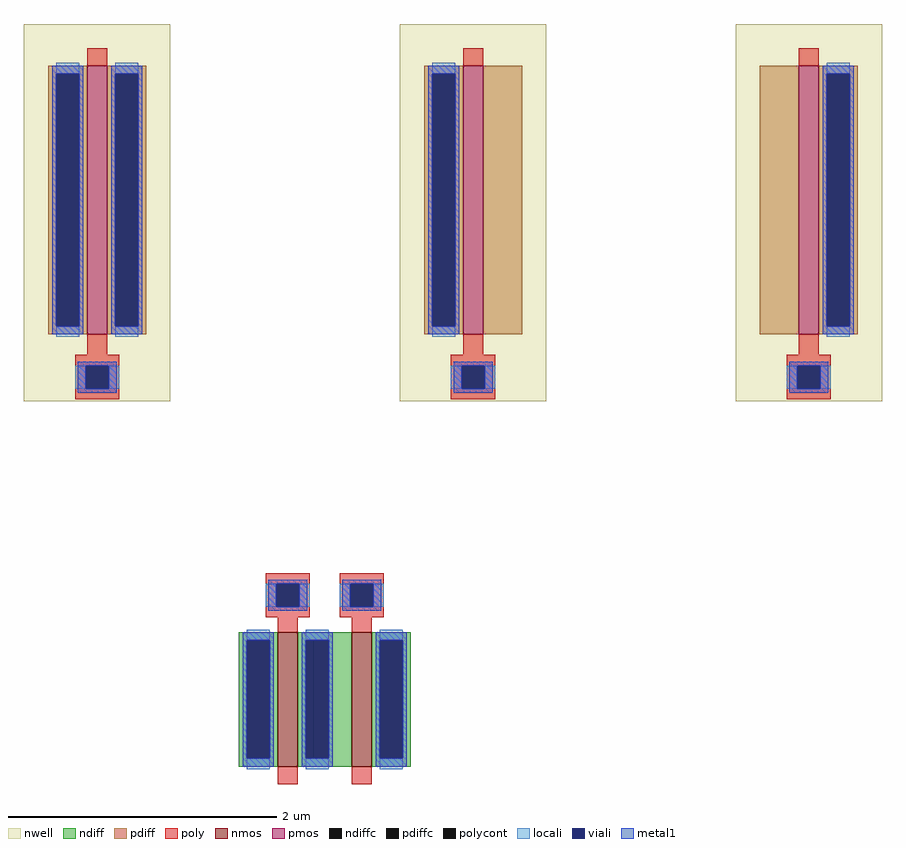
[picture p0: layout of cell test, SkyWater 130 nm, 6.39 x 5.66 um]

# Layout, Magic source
magic
tech sky130A
magscale 1 2
use sky130_fd_pr__nfet_MJHEWA  sky130_fd_pr__nfet_01v8_MJHEWA_0
transform 1 0 393 0 1 -413
box -73 -157 73 157
use sky130_fd_pr__nfet_MJHEWA_abut1  sky130_fd_pr__nfet_MJHEWA_abut1_0
transform 1 0 503 0 1 -413
box -73 -157 73 157
use sky130_fd_pr__pfet_01v8_H3PEXU  sky130_fd_pr__pfet_01v8_H3PEXU_0
transform 1 0 109 0 1 264
box -109 -264 109 298
use sky130_fd_pr__pfet_01v8_H3PEXU_abut1  sky130_fd_pr__pfet_01v8_H3PEXU_abut1_0
transform 1 0 669 0 1 264
box -109 -264 109 298
use sky130_fd_pr__pfet_01v8_H3PEXU_abut2  sky130_fd_pr__pfet_01v8_H3PEXU_abut2_0
transform 1 0 1169 0 1 264
box -109 -264 109 298
<< end >>

# cell sky130_fd_pr__nfet_MJHEWA: kit device sky130_fd_pr__nfet_01v8, w 1 l 0.150 m 1 nf 1 diffcov 100 polycov 100 guard 0 glc 1 grc 1 gtc 1 gbc 1 tbcov 100 rlcov 100 topc 1 botc 0 poverlap 0 doverlap 1 lmin 0.15 wmin 0.42 class mosfet compatible {sky130_fd_pr__nfet_01v8 sky130_fd_pr__nfet_01v8_lvt sky130_fd_bs_flash__special_sonosfet_star sky130_fd_pr__nfet_g5v0d10v5 sky130_fd_pr__nfet_05v0_nvt sky130_fd_pr__nfet_03v3_nvt} full_metal 1 conn_gates 0 viasrc 100 viadrn 100 viagate 100 viagb 0 viagr 0 viagl 0 viagt 0 doports 1

# cell sky130_fd_pr__nfet_MJHEWA_abut1: kit device sky130_fd_pr__nfet_01v8, w 1 l 0.150 m 1 nf 1 diffcov 100 polycov 100 guard 0 glc 1 grc 1 gtc 1 gbc 1 tbcov 100 rlcov 100 topc 1 botc 0 poverlap 0 doverlap 1 lmin 0.15 wmin 0.42 class mosfet compatible {sky130_fd_pr__nfet_01v8 sky130_fd_pr__nfet_01v8_lvt sky130_fd_bs_flash__special_sonosfet_star sky130_fd_pr__nfet_g5v0d10v5 sky130_fd_pr__nfet_05v0_nvt sky130_fd_pr__nfet_03v3_nvt} full_metal 1 conn_gates 0 viasrc 100 viadrn 100 viagate 100 viagb 0 viagr 0 viagl 0 viagt 0 doports 1

# cell sky130_fd_pr__pfet_01v8_H3PEXU: kit device sky130_fd_pr__pfet_01v8, w 2 l 0.15 m 1 nf 1 diffcov 100 polycov 100 guard 0 glc 1 grc 1 gtc 1 gbc 1 tbcov 100 rlcov 100 topc 0 botc 1 poverlap 0 doverlap 1 lmin 0.15 wmin 0.42 class mosfet compatible {sky130_fd_pr__pfet_01v8 sky130_fd_pr__pfet_01v8_lvt sky130_fd_pr__pfet_01v8_hvt sky130_fd_pr__pfet_g5v0d10v5} full_metal 1 conn_gates 0 viasrc 100 viadrn 100 viagate 100 viagb 0 viagr 0 viagl 0 viagt 0 doports 1

# cell sky130_fd_pr__pfet_01v8_H3PEXU_abut1: kit device sky130_fd_pr__pfet_01v8, w 2 l 0.15 m 1 nf 1 diffcov 100 polycov 100 guard 0 glc 1 grc 1 gtc 1 gbc 1 tbcov 100 rlcov 100 topc 0 botc 1 poverlap 0 doverlap 1 lmin 0.15 wmin 0.42 class mosfet compatible {sky130_fd_pr__pfet_01v8 sky130_fd_pr__pfet_01v8_lvt sky130_fd_pr__pfet_01v8_hvt sky130_fd_pr__pfet_g5v0d10v5} full_metal 1 conn_gates 0 viasrc 100 viadrn 100 viagate 100 viagb 0 viagr 0 viagl 0 viagt 0 doports 1

# cell sky130_fd_pr__pfet_01v8_H3PEXU_abut2: kit device sky130_fd_pr__pfet_01v8, w 2 l 0.15 m 1 nf 1 diffcov 100 polycov 100 guard 0 glc 1 grc 1 gtc 1 gbc 1 tbcov 100 rlcov 100 topc 0 botc 1 poverlap 0 doverlap 1 lmin 0.15 wmin 0.42 class mosfet compatible {sky130_fd_pr__pfet_01v8 sky130_fd_pr__pfet_01v8_lvt sky130_fd_pr__pfet_01v8_hvt sky130_fd_pr__pfet_g5v0d10v5} full_metal 1 conn_gates 0 viasrc 100 viadrn 100 viagate 100 viagb 0 viagr 0 viagl 0 viagt 0 doports 1
